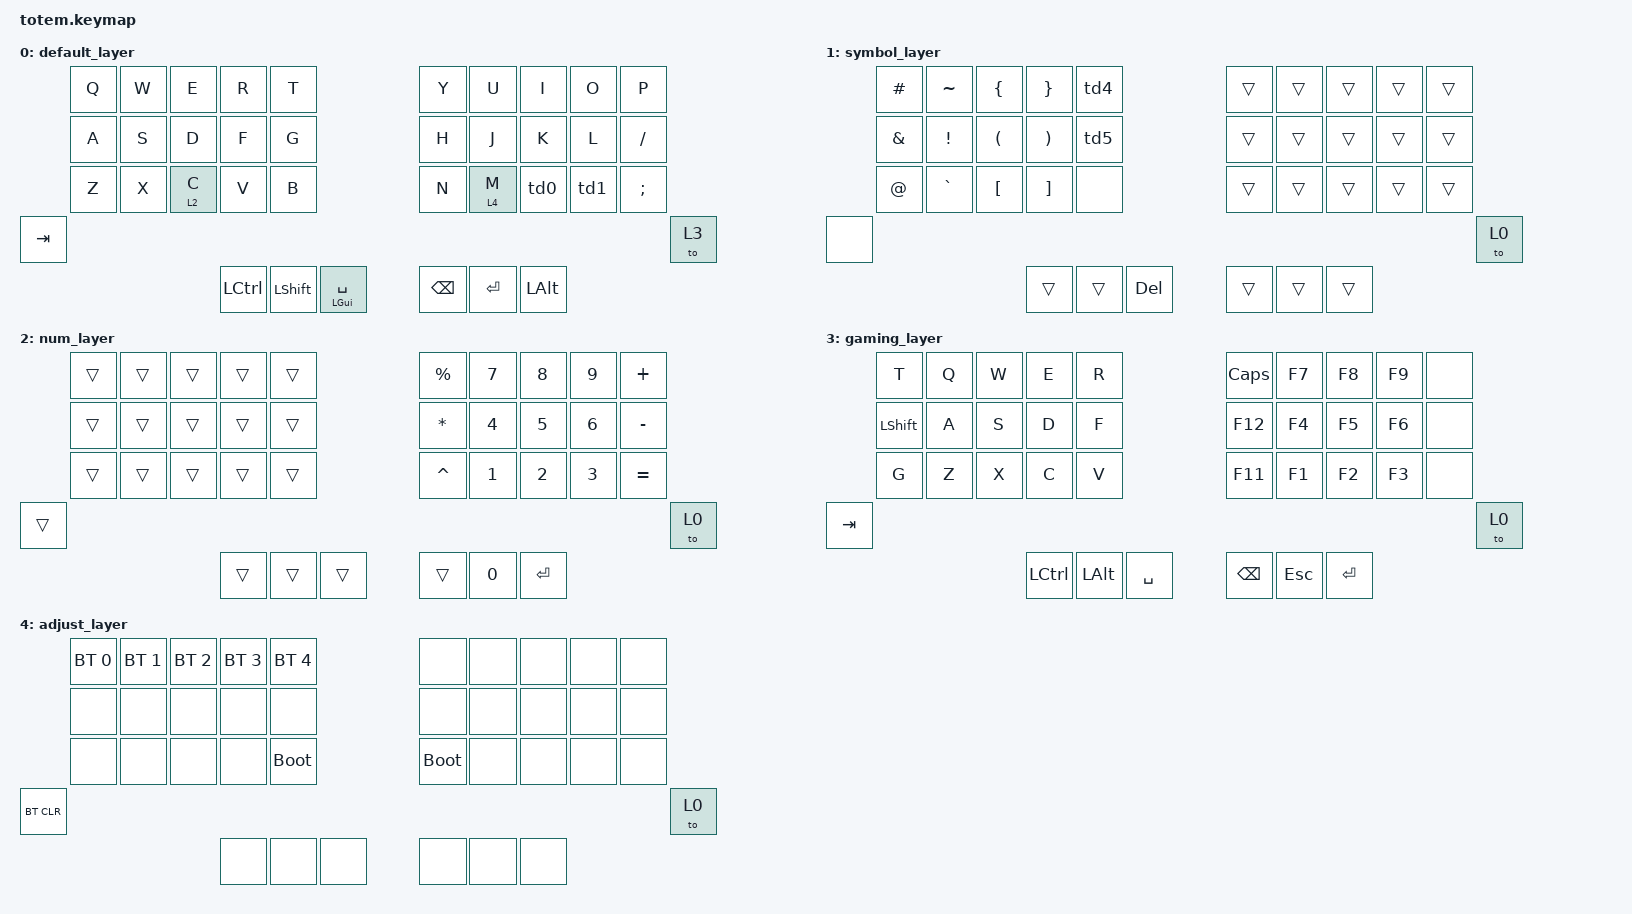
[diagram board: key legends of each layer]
#include <behaviors.dtsi>
#include <dt-bindings/zmk/keys.h>
#include <dt-bindings/zmk/bt.h>
#include <dt-bindings/zmk/outputs.h>

#define DEFAULT 0
#define SYMBOL  1
#define GAMING   2
#define RAISE   3
#define ADJUST  4

#define HYPER(key) LS(LC(LA(LG(key))))
#define MEH(key)   LS(LC(LA(key)))

&sl {
    release-after-ms = <5000>;
};

&kscan0 {
    debounce-press-ms = <30>;
    debounce-release-ms = <30>;
};

/ {
    behaviors {

    td0: less_then_tap {
        compatible = "zmk,behavior-tap-dance";
        label = "LESS_THEN_TAP";
        #binding-cells = <0>;
        tapping-term-ms = <200>;
        bindings = <&lt 1 LT >, <&kp PERIOD>;
        };
    td1: great_then_tap {
        compatible = "zmk,behavior-tap-dance";
        label = "GREAT_THEN_TAP";
        #binding-cells = <0>;
        tapping-term-ms = <200>;
        bindings = <&kp GT>, <&kp COMMA>; 
        };
    td2: f_slash_tap {
        compatible = "zmk,behavior-tap-dance";
        label = "F_SLASH_TAP";
        #binding-cells = <0>;
        tapping-term-ms = <200>;
        bindings = <&kp FSLH>, <&kp QMARK>; 
        };
    td3: colon_tap {
        compatible = "zmk,behavior-tap-dance";
        label = "COLON_TAP";
        #binding-cells = <0>;
        tapping-term-ms = <200>;
        bindings = <&kp SEMI>, <&kp COLON>;
        };

    // Symbol Layer bindings
    td4: backslash_tap {
        compatible = "zmk,behavior-tap-dance";
        label = "BACKSLASH_TAP";
        #binding-cells = <0>;
        tapping-term-ms = <200>;
        bindings = <&kp BSLH>, <&kp PIPE>;
        };
    };    
    td5: underscore_tap {
        compatible = "zmk,behavior-tap-dance";
        label = "UNDERSCORE_TAP";
        #binding-cells = <0>;
        tapping-term-ms = <200>;
        bindings = <&kp MINUS>, <&kp UNDER>;
        };
};

/  {  keymap {
        compatible = "zmk,keymap";

        default_layer {
            bindings = <
          &kp Q   &kp W     &kp E    &kp R     &kp T                          &kp Y     &kp U     &kp I     &kp O    &kp P
          &kp A   &kp S     &kp D    &kp F     &kp G                          &kp H     &kp J     &kp K     &kp L    &kp FSLH
          &kp Z   &kp X     &lt 2 C  &kp V   &kp B                          &kp N       &lt 4 M   &td0      &td1   &kp SEMI
&kp TAB                                                                                                                        &to 3
                                     &kp LCTRL &kp LSHFT  &mt LGUI SPACE    &kp BSPC   &kp RET   &kp LALT
            >;
        };

        symbol_layer {
            bindings = <
          &kp HASH   &kp TILDE   &kp LBRC   &kp RBRC     &td4                          &trans   &trans   &trans   &trans      &trans
          &kp AMPS   &kp EXCL    &kp LPAR   &kp RPAR     &td5                           &trans   &trans   &trans   &trans      &trans
          &kp AT     &kp GRAVE   &kp LBKT   &kp RBKT     &none                         &trans   &trans   &trans   &trans      &trans
&none                                                                                                                                  &to 0
                                            &trans       &trans  &kp DEL         &trans  &trans     &trans   
            >;
        };

        num_layer {
            bindings = <
          &trans   &trans   &trans   &trans      &trans                          &kp PRCNT &kp N7     &kp N8     &kp N9    &kp PLUS
          &trans   &trans    &trans   &trans     &trans                         &kp STAR  &kp N4     &kp N5     &kp N6    &kp MINUS
          &trans    &trans   &trans   &trans     &trans                         &kp CARET &kp N1     &kp N2     &kp N3    &kp EQUAL
&trans                                                                                                                                  &to 0
                                            &trans   &trans  &trans         &trans  &kp N0     &kp RET   
            >;
        };
                
        gaming_layer {
            bindings = <
          &kp T     &kp Q    &kp W    &kp E     &kp R                          &kp CAPS       &kp F7     &kp F8     &kp F9    &none
          &kp LSHFT &kp A    &kp S    &kp D     &kp F                          &kp F12     &kp F4     &kp F5     &kp F6    &none
          &kp G     &kp Z    &kp X    &kp C     &kp V                          &kp F11     &kp F1     &kp F2     &kp F3    &none
&kp TAB                                                                                                                   &to 0 
                                     &kp LCTRL &kp LALT  &kp SPACE   &kp BSPC   &kp ESC   &kp RET
            >;
        };
        
        adjust_layer {
            bindings = <
          &bt BT_SEL 0  &bt BT_SEL 1 &bt BT_SEL 2 &bt BT_SEL 3 &bt BT_SEL 4                          &none       &none    &none     &none    &none
          &none         &none        &none        &none        &none                                 &none       &none    &none     &none    &none
          &none         &none        &none        &none     &bootloader                          &bootloader      &none    &none     &none    &none
&bt BT_CLR                                                                                                                                         &to 0
                                     &none &none  &none                                      &none   &none       &none
            >;
        };
    };
};
